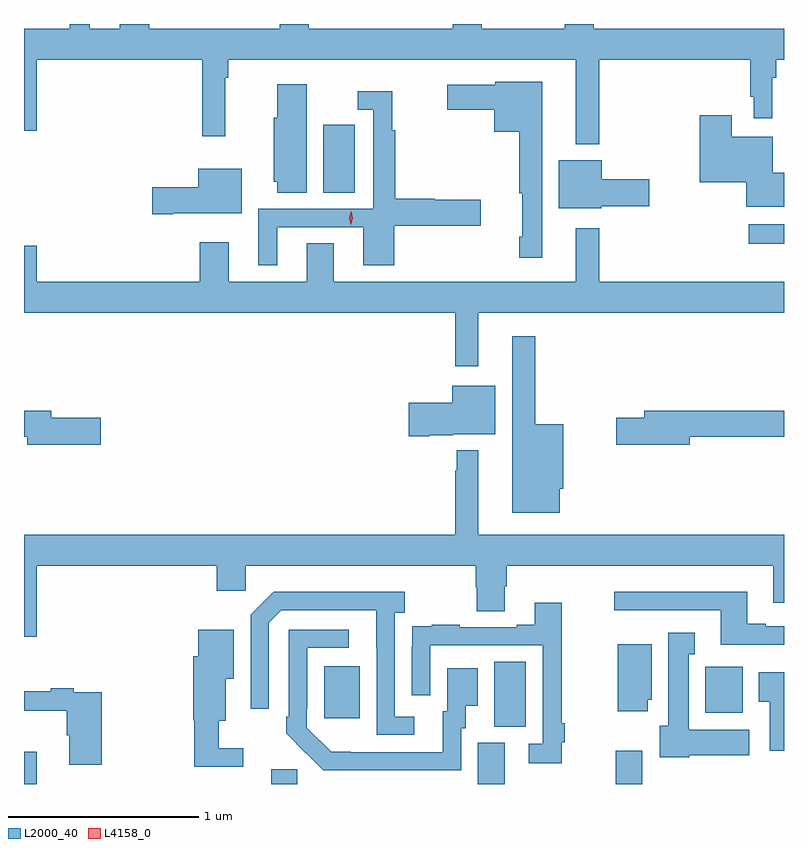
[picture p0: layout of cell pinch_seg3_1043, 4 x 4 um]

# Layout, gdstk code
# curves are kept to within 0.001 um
import gdstk
lib = gdstk.Library(unit=1e-6, precision=1e-09)
def R(c, l, rs):  # rectangles x0, y0, x1, y1
    for r in rs: c.add(gdstk.rectangle(r[:2], r[2:], *l))
def P(c, l, *ps):  # polygons
    for p in ps: c.add(gdstk.Polygon(p, *l))
L2000_40 = (2000, 40)
L4158_0 = (4158, 0)

pinch_seg3_1043 = lib.new_cell('pinch_seg3_1043')
R(pinch_seg3_1043, L2000_40, [(320.95,691.776,321.016,691.945), (322.25,691.776,322.389,691.854), (323.339,691.776,323.479,691.992), (324.065,691.776,324.205,691.951), (323.426,692.077,323.59,692.42), (322.529,692.121,322.717,692.395), (324.536,692.15,324.733,692.392), (324.765,694.619,324.95,694.723), (322.526,694.888,322.69,695.245)])
P(pinch_seg3_1043, L2000_40, [(323.948,695.776),(323.795,695.776),(323.795,695.752),(323.359,695.752),(323.359,695.776),(323.207,695.776),(323.207,695.752),(322.448,695.752),(322.448,695.776),(322.295,695.776),(322.295,695.752),(321.608,695.752),(321.608,695.776),(321.455,695.776),(321.455,695.752),(321.295,695.752),(321.295,695.776),(321.191,695.776),(321.191,695.752),(320.95,695.752),(320.95,695.214),(321.016,695.214),(321.016,695.588),(321.889,695.588),(321.889,695.184),(322.01,695.184),(322.01,695.492),(322.025,695.492),(322.025,695.588),(323.855,695.588),(323.855,695.144),(323.977,695.144),(323.977,695.588),(324.772,695.588),(324.772,695.392),(324.792,695.392),(324.792,695.28),(324.888,695.28),(324.888,695.492),(324.908,695.492),(324.908,695.588),(324.95,695.588),(324.95,695.752),(323.948,695.752)],
  [(323.677,695.473),(323.43,695.473),(323.43,695.455),(323.178,695.455),(323.178,695.326),(323.426,695.326),(323.426,695.21),(323.556,695.21),(323.556,694.886),(323.573,694.886),(323.573,694.657),(323.556,694.657),(323.556,694.545),(323.677,694.545)],
  [(322.438,695.458),(322.283,695.458),(322.283,695.283),(322.265,695.283),(322.265,694.947),(322.283,694.947),(322.283,694.888),(322.438,694.888)],
  [(322.282,694.707),(322.736,694.707),(322.736,694.506),(322.898,694.506),(322.898,694.714),(323.353,694.714),(323.353,694.851),(323.111,694.851),(323.111,694.856),(322.904,694.856),(322.904,695.218),(322.889,695.218),(322.889,695.422),(322.707,695.422),(322.707,695.325),(322.788,695.325),(322.788,694.803),(322.184,694.803),(322.184,694.506),(322.282,694.506)],
  [(324.95,694.993),(324.892,694.993),(324.892,695.182),(324.676,695.182),(324.676,695.296),(324.506,695.296),(324.506,694.943),(324.752,694.943),(324.752,694.814),(324.95,694.814)],
  [(323.988,694.816),(324.241,694.816),(324.241,694.958),(323.992,694.958),(323.992,695.059),(323.765,695.059),(323.765,694.805),(323.988,694.805)],
  [(321.736,694.781),(322.096,694.781),(322.096,695.014),(321.866,695.014),(321.866,694.916),(321.624,694.916),(321.624,694.774),(321.736,694.774)],
  [(323.341,694.256),(324.95,694.256),(324.95,694.42),(323.977,694.42),(323.977,694.702),(323.855,694.702),(323.855,694.42),(322.579,694.42),(322.579,694.622),(322.439,694.622),(322.439,694.42),(322.027,694.42),(322.027,694.627),(321.875,694.627),(321.875,694.42),(321.016,694.42),(321.016,694.609),(320.95,694.609),(320.95,694.256),(323.22,694.256),(323.22,693.975),(323.341,693.975)],
  [(323.77,693.33),(323.788,693.33),(323.788,693.67),(323.641,693.67),(323.641,694.132),(323.519,694.132),(323.519,693.203),(323.77,693.203)],
  [(323.086,693.611),(323.208,693.611),(323.208,693.617),(323.431,693.617),(323.431,693.871),(323.204,693.871),(323.204,693.783),(322.974,693.783),(322.974,693.605),(323.086,693.605)],
  [(324.454,693.604),(324.95,693.604),(324.95,693.74),(324.215,693.74),(324.215,693.704),(324.066,693.704),(324.066,693.562),(324.454,693.562)],
  [(321.355,693.704),(321.094,693.704),(321.094,693.74),(320.95,693.74),(320.95,693.604),(320.966,693.604),(320.966,693.562),(321.355,693.562)],
  [(323.227,693.425),(323.22,693.425),(323.22,693.088),(320.95,693.088),(320.95,692.55),(321.016,692.55),(321.016,692.924),(321.965,692.924),(321.965,692.793),(322.116,692.793),(322.116,692.924),(323.327,692.924),(323.327,692.811),(323.332,692.811),(323.332,692.686),(323.479,692.686),(323.479,692.818),(323.492,692.818),(323.492,692.924),(324.893,692.924),(324.893,692.73),(324.95,692.73),(324.95,693.088),(323.341,693.088),(323.341,693.532),(323.227,693.532)],
  [(324.95,692.607),(324.853,692.607),(324.853,692.62),(324.757,692.62),(324.757,692.788),(324.057,692.788),(324.057,692.691),(324.617,692.691),(324.617,692.51),(324.95,692.51)],
  [(323.005,692.13),(322.902,692.13),(322.902,692.678),(322.954,692.678),(322.954,692.788),(322.264,692.788),(322.143,692.667),(322.143,692.172),(322.239,692.172),(322.239,692.625),(322.305,692.691),(322.805,692.691),(322.806,692.034),(323.005,692.034)],
  [(323.78,691.996),(323.795,691.996),(323.795,692.096),(323.78,692.096),(323.78,692.731),(323.639,692.731),(323.639,692.614),(323.543,692.614),(323.543,692.601),(323.243,692.601),(323.243,692.614),(323.095,692.614),(323.095,692.607),(322.993,692.607),(322.993,692.498),(322.992,692.498),(322.992,692.244),(323.088,692.244),(323.088,692.505),(323.679,692.505),(323.679,691.989),(323.607,691.989),(323.607,691.884),(323.78,691.884)],
  [(323.25,692.07),(323.275,692.07),(323.275,692.189),(323.338,692.189),(323.338,692.386),(323.177,692.386),(323.177,692.16),(323.153,692.16),(323.153,691.944),(322.566,691.945),(322.437,692.073),(322.437,692.173),(322.44,692.173),(322.44,692.493),(322.66,692.493),(322.66,692.589),(322.344,692.589),(322.344,692.131),(322.329,692.131),(322.329,692.043),(322.526,691.848),(323.25,691.848)],
  [(322.105,691.963),(321.976,691.963),(321.976,692.108),(322.012,692.108),(322.012,692.33),(322.054,692.33),(322.054,692.587),(321.866,692.587),(321.866,692.448),(321.842,692.448),(321.842,692.112),(321.847,692.112),(321.847,691.866),(322.105,691.866)],
  [(324.45,691.928),(324.766,691.928),(324.766,692.062),(324.448,692.062),(324.448,692.459),(324.481,692.459),(324.481,692.572),(324.341,692.572),(324.341,692.082),(324.296,692.082),(324.296,691.916),(324.45,691.916)],
  [(324.232,692.22),(324.253,692.22),(324.253,692.512),(324.074,692.512),(324.074,692.16),(324.232,692.16)],
  [(324.95,692.365),(324.818,692.365),(324.818,692.209),(324.875,692.209),(324.875,691.95),(324.95,691.95)],
  [(321.359,692.259),(321.212,692.259),(321.212,692.279),(321.092,692.279),(321.092,692.264),(320.95,692.264),(320.95,692.162),(321.176,692.162),(321.176,692.032),(321.188,692.032),(321.188,691.878),(321.359,691.878)])
P(pinch_seg3_1043, L4158_0, [(322.669,694.719),(322.661,694.755),(322.672,694.791),(322.672,694.791),(322.672,694.791),(322.681,694.754),(322.67,694.719),(322.67,694.719)])

lib.write_gds('pinch_seg3_1043.gds')
